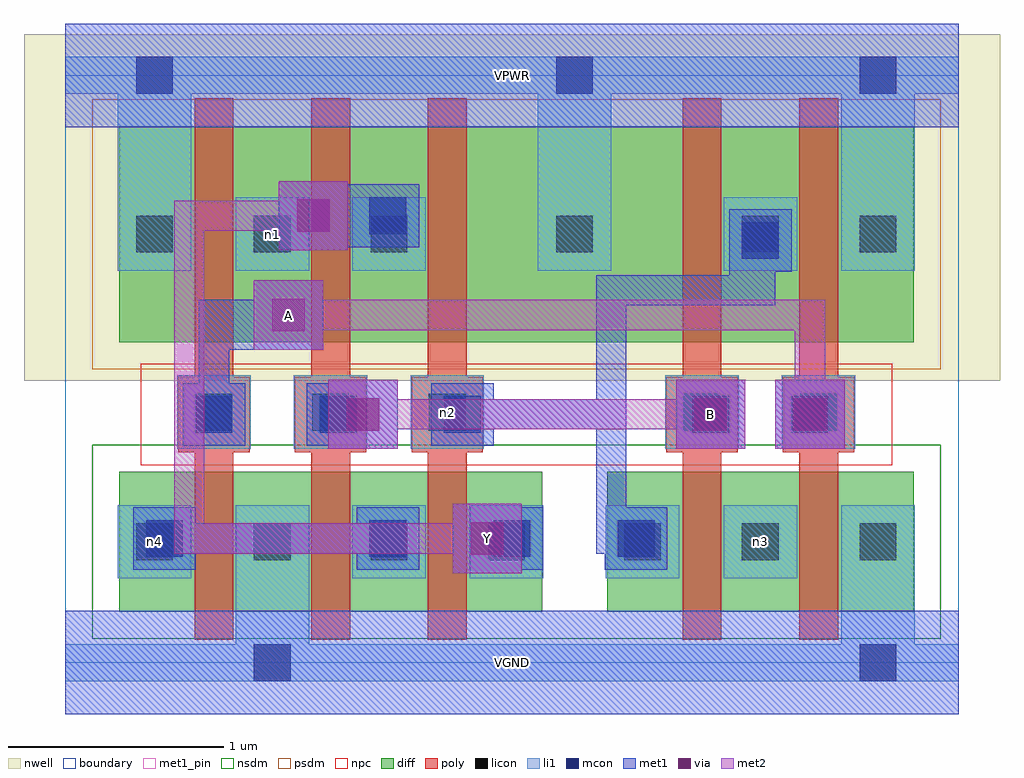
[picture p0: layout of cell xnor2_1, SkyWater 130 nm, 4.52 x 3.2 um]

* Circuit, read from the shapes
.subckt xnor2_1 A B VGND VPWR Y n1 n2 n3 n4
XM1 VGND A n4 VSUBS sky130_fd_pr__nfet_01v8 w=0.65 l=0.18
XM2 n4 B VGND VSUBS sky130_fd_pr__nfet_01v8 w=0.65 l=0.18
XM3 Y n2 n4 VSUBS sky130_fd_pr__nfet_01v8 w=0.65 l=0.18
XM4 n3 B n2 VSUBS sky130_fd_pr__nfet_01v8 w=0.65 l=0.18
XM5 VGND A n3 VSUBS sky130_fd_pr__nfet_01v8 w=0.65 l=0.18
XM6 n1 A VPWR n5 sky130_fd_pr__pfet_01v8 w=1 l=0.18
XM7 Y B n1 n5 sky130_fd_pr__pfet_01v8 w=1 l=0.18
XM8 VPWR n2 Y n5 sky130_fd_pr__pfet_01v8 w=1 l=0.18
XM9 n2 B VPWR n5 sky130_fd_pr__pfet_01v8 w=1 l=0.18
XM10 VPWR A n2 n5 sky130_fd_pr__pfet_01v8 w=1 l=0.18
.ends

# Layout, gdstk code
import gdstk
lib = gdstk.Library(unit=1e-6, precision=1e-09)
def R(c, l, rs):  # rectangles x0, y0, x1, y1
    for r in rs: c.add(gdstk.rectangle(r[:2], r[2:], *l))
def A(c, l, x, y, w, h, nx, ny, dx, dy):  # array of equal rectangles
    R(c, l, [(x+i*dx, y+j*dy, x+i*dx+w, y+j*dy+h) for i in range(nx) for j in range(ny)])
nwell = (64, 20)
diff = (65, 20)
poly = (66, 20)
licon = (66, 44)
li1 = (67, 20)
mcon = (67, 44)
met1_pin = (68, 16)
met1 = (68, 20)
via = (68, 44)
met2 = (69, 20)
nsdm = (93, 44)
psdm = (94, 20)
npc = (95, 20)
boundary = (235, 4)

xnor2_1 = lib.new_cell('xnor2_1')
R(xnor2_1, nwell, [(-0.19,1.305,4.33,2.91), (0,1.305,4.14,2.91)])
R(xnor2_1, diff, [(0.25,0.235,2.21,0.885), (2.51,0.235,3.93,0.885), (0.25,1.485,3.93,2.485)])
A(xnor2_1, poly, 0.6, 0.105, 0.18, 2.51, 3, 1, 0.54, 0)
A(xnor2_1, poly, 0.525, 0.975, 0.33, 0.35, 3, 1, 0.54, 0)
R(xnor2_1, poly, [(2.86,0.105,3.04,2.615), (3.4,0.105,3.58,2.615), (2.785,0.975,3.115,1.325), (3.325,0.975,3.655,1.325)])
A(xnor2_1, licon, 2.59, 0.475, 0.17, 0.17, 3, 1, 0.545, 0)
A(xnor2_1, licon, 0.605, 1.075, 0.17, 0.17, 3, 1, 0.54, 0)
A(xnor2_1, licon, 1.415, 1.9, 0.17, 0.17, 3, 1, 0.86, 0)
R(xnor2_1, licon, [(0.33,0.475,0.5,0.645), (0.875,0.475,1.045,0.645), (1.415,0.475,1.585,0.645), (1.96,0.475,2.13,0.645), (2.865,1.075,3.035,1.245), (3.405,1.075,3.575,1.245), (0.33,1.9,0.5,2.07), (0.875,1.9,1.045,2.07), (3.68,1.9,3.85,2.07)])
A(xnor2_1, li1, 0.52, 0.99, 0.34, 0.34, 3, 1, 0.54, 0)
R(xnor2_1, li1, [(0,-0.085,4.14,0.085), (0.79,-0.085,1.13,0.73), (3.595,-0.085,3.935,0.73), (0.245,0.39,0.585,0.73), (1.33,0.39,1.67,0.73), (1.875,0.39,2.215,0.73), (2.505,0.39,2.845,0.73), (3.05,0.39,3.39,0.73), (2.78,0.99,3.12,1.33), (3.32,0.99,3.66,1.33), (0.245,1.815,0.585,2.805), (0.79,1.815,1.13,2.155), (1.33,1.815,1.67,2.155), (2.19,1.815,2.53,2.805), (3.05,1.815,3.39,2.155), (3.595,1.815,3.935,2.805), (0,2.635,4.14,2.805)])
A(xnor2_1, mcon, 1.41, 0.49, 0.17, 0.17, 3, 1, 0.575, 0)
A(xnor2_1, mcon, 0.605, 1.065, 0.17, 0.17, 3, 1, 0.575, 0)
R(xnor2_1, mcon, [(0.875,-0.085,1.045,0.085), (3.68,-0.085,3.85,0.085), (0.375,0.49,0.545,0.66), (2.905,1.065,3.075,1.235), (3.365,1.065,3.535,1.235), (3.135,1.87,3.305,2.04), (1.41,1.985,1.58,2.155), (0.33,2.635,0.5,2.805), (2.275,2.635,2.445,2.805), (3.68,2.635,3.85,2.805)])
R(xnor2_1, met1_pin, [(0,-0.24,4.14,0.24), (1.795,0.415,2.115,0.735), (2.83,0.99,3.15,1.31), (0.875,1.45,1.195,1.77), (0,2.48,4.14,2.96)])
A(xnor2_1, met1, 1.35, 0.43, 0.29, 0.29, 3, 1, 0.575, 0)
A(xnor2_1, met1, 0.545, 1.005, 0.29, 0.29, 3, 1, 0.575, 0)
R(xnor2_1, met1, [(0,-0.24,4.14,0.24), (1.795,0.415,2.115,0.735), (0.315,0.43,0.605,0.72), (0.39,0.505,1.565,0.645), (1.885,0.505,2.14,0.645), (2.46,0.505,2.6,1.22), (2.46,0.505,2.715,0.645), (1.22,0.99,1.54,1.31), (2.83,0.99,3.15,1.31), (3.29,0.99,3.61,1.31), (2.845,1.005,3.135,1.295), (3.305,1.005,3.595,1.295), (0.62,1.08,0.76,1.68), (1.195,1.08,1.45,1.22), (1.77,1.08,2.6,1.22), (2.46,1.08,2.6,1.795), (0.76,1.45,0.875,1.68), (0.875,1.45,1.195,1.77), (0.62,1.54,1.105,1.68), (2.46,1.655,3.29,1.795), (3.15,1.655,3.29,2.025), (3.075,1.795,3.29,1.81), (3.075,1.81,3.365,2.1), (0.99,1.91,1.31,2.23), (1.31,1.925,1.35,2.215), (1.35,1.925,1.64,2.215), (1.08,2,1.565,2.14), (0,2.48,4.14,2.96)])
R(xnor2_1, via, [(1.88,0.5,2.03,0.65), (1.305,1.075,1.455,1.225), (2.915,1.075,3.065,1.225), (3.375,1.075,3.525,1.225), (0.96,1.535,1.11,1.685), (1.075,1.995,1.225,2.145)])
R(xnor2_1, met2, [(1.795,0.415,2.115,0.735), (0.505,0.505,2.025,0.645), (0.505,0.505,0.645,2.14), (1.22,0.99,1.54,1.31), (2.83,0.99,3.15,1.31), (3.29,0.99,3.61,1.31), (1.31,1.08,3.06,1.22), (3.38,1.08,3.52,1.68), (0.875,1.45,1.195,1.77), (0.965,1.54,3.52,1.68), (0.99,1.91,1.31,2.23), (0.505,2,1.22,2.14)])
R(xnor2_1, nsdm, [(0.125,0.11,4.055,1.01)])
R(xnor2_1, psdm, [(0.125,1.36,4.055,2.61)])
R(xnor2_1, npc, [(0.35,0.915,3.83,1.385)])
R(xnor2_1, boundary, [(0,0,4.14,2.72)])
xnor2_1.add(gdstk.Label('n2', (1.77,1.16), layer=67, texttype=5))
xnor2_1.add(gdstk.Label('n4', (0.415,0.56), layer=67, texttype=5))
xnor2_1.add(gdstk.Label('n3', (3.22,0.56), layer=67, texttype=5))
xnor2_1.add(gdstk.Label('n1', (0.96,1.985), layer=67, texttype=5))
xnor2_1.add(gdstk.Label('A', (1.035,1.61), layer=68, texttype=5))
xnor2_1.add(gdstk.Label('B', (2.99,1.15), layer=68, texttype=5))
xnor2_1.add(gdstk.Label('Y', (1.955,0.575), layer=68, texttype=5))
xnor2_1.add(gdstk.Label('VPWR', (2.07,2.72), layer=68, texttype=5))
xnor2_1.add(gdstk.Label('VGND', (2.07,0), layer=68, texttype=5))
xnor2_1.add(gdstk.Label('A', (1.035,1.61), layer=68, texttype=16))
xnor2_1.add(gdstk.Label('B', (2.99,1.15), layer=68, texttype=16))
xnor2_1.add(gdstk.Label('Y', (1.955,0.575), layer=68, texttype=16))
xnor2_1.add(gdstk.Label('VPWR', (2.07,2.72), layer=68, texttype=16))
xnor2_1.add(gdstk.Label('VGND', (2.07,0), layer=68, texttype=16))

lib.write_gds('xnor2_1.gds')
